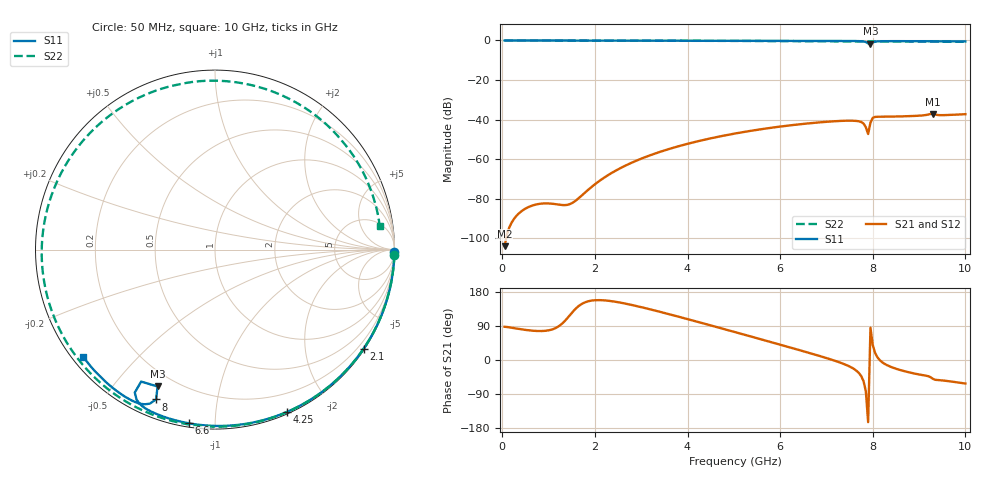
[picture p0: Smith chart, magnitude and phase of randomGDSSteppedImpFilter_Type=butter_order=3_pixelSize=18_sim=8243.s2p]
! freq	dB(S11)	phase(S11)	dB(S12)	phase(S12)
!  dB(S21)	phase(S21)	dB(S22)	phase(S22)
!S-par simulation data
#  GHz  S  DB  R 50
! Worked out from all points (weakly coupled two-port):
!   200 points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, 50 MHz to 10 GHz, reference 50 ohm
!   highest |S21| = -37.16 dB at 9.3 GHz (marker M1); lowest = -104.0 dB at 50 MHz (marker M2)
!   lowest |S11| = -1.6 dB at 7.95 GHz (marker M3), VSWR 10.57, Z = 6.79 - j32.8 ohm
!   |S11| at or under -10 dB: nowhere
!   |S22| runs from -0.7 to 0.0 dB; largest |S21 - S12| = 0
!   S11 on the Smith chart (normalised r, x): 50 MHz: open; 2.1 GHz: 0.03, -3.31; 4.25 GHz: 0.02, -1.54; 6.6 GHz: 0.02, -0.86; 8 GHz: 0.08, -0.68; 10 GHz: 0.03, -0.35
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0.05  -0.00 -0.8  -104.04 87.7  -104.04 87.7  -0.00 -1.6
0.8  -0.01 -13.0  -82.64 76.4  -82.64 76.4  -0.03 -25.4
1.6  -0.03 -25.8  -80.74 137.3  -80.74 137.3  -0.06 -50.2
1.75  -0.04 -28.1  -77.69 150.1  -77.69 150.1  -0.07 -54.8
2.1  -0.04 -33.6  -70.99 158.0  -70.99 158.0  -0.08 -65.5
2.65  -0.05 -42.2  -63.40 149.0  -63.40 149.0  -0.10 -82.0
3.4  -0.07 -53.5  -56.38 127.3  -56.38 127.3  -0.14 -104.2
4.25  -0.09 -66.0  -50.83 99.7  -50.83 99.7  -0.18 -129.4
5.05  -0.12 -77.4  -46.96 72.8  -46.96 72.8  -0.24 -153.7
5.85  -0.15 -88.5  -44.02 45.6  -44.02 45.6  -0.30 -179.6
6.6  -0.19 -98.6  -41.96 19.7  -41.96 19.7  -0.38 154.1
6.7  -0.19 -99.9  -41.74 16.1  -41.74 16.1  -0.39 150.4
7.2  -0.23 -106.8  -40.82 -2.7  -40.82 -2.7  -0.44 131.0
7.7  -0.33 -114.8  -40.89 -34.3  -40.89 -34.3  -0.49 110.3
7.8  -0.50 -117.6  -42.00 -55.5  -42.00 -55.5  -0.50 106.0
7.9  -1.49 -119.2  -47.33 -164.0  -47.33 -164.0  -0.52 101.8
7.95  -1.65 -112.8  -41.57 85.2  -41.57 85.2  -0.52 99.6
8  -0.95 -111.4  -39.12 39.4  -39.12 39.4  -0.51 97.4
8.35  -0.35 -119.2  -38.55 -16.0  -38.55 -16.0  -0.54 81.8
8.8  -0.36 -125.5  -38.27 -33.1  -38.27 -33.1  -0.58 61.3
9.3  -0.42 -132.0  -37.16 -49.8  -37.16 -49.8  -0.62 38.7
10  -0.48 -141.0  -37.28 -62.1  -37.28 -62.1  -0.66 8.3
